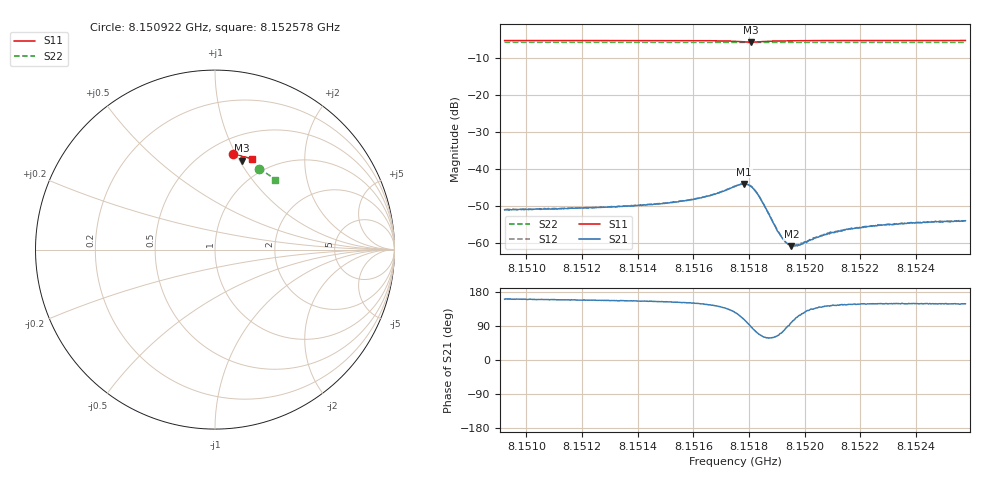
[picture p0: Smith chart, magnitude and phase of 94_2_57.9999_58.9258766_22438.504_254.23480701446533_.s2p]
#  HZ  S  RI  R  50.00
! Rohde & Schwarz Vector Network Analyzer
! Rohde-Schwarz,ZNB20-2Port,1311601062101988,3.16
! Created: UTC 3/21/2024, 12:54:25 AM
! freq[Hz]  re:S11  im:S11  re:S21  im:S21  re:S12  im:S12  re:S22  im:S22
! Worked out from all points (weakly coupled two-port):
!   401 points, 8.150922 GHz to 8.152578 GHz, reference 50 ohm
!   highest |S21| = -44.00 dB at 8.151783 GHz (marker M1); lowest = -60.8 dB at 8.151953 GHz (marker M2)
!   lowest |S11| = -5.7 dB at 8.151808 GHz (marker M3), VSWR 3.15, Z = 37.8 + j51.1 ohm
!   |S11| at or under -10 dB: nowhere
!   |S22| runs from -5.8 to -5.8 dB; largest |S21 - S12| = 0.00014
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8.1509218e9  0.0981 0.5337  -0.00266 0.000944  -0.00269 0.000968  0.2463 0.4514
8.1511991e9  0.1178 0.5301  -0.00277 0.00112  -0.00277 0.00114  0.2617 0.4424
8.1514765e9  0.1386 0.525  -0.00304 0.00148  -0.00308 0.00151  0.2768 0.4327
8.1515759e9  0.1468 0.5221  -0.00329 0.0018  -0.00331 0.00189  0.2821 0.429
8.1516338e9  0.1521 0.5194  -0.00355 0.00221  -0.00354 0.00226  0.2852 0.4269
8.1516835e9  0.1572 0.516  -0.00371 0.00285  -0.00367 0.00292  0.2879 0.4249
8.1517497e9  0.1621 0.5053  -0.00338 0.00477  -0.00335 0.00488  0.2913 0.4221
8.1517829e9  0.158 0.4972  -0.00182 0.00604  -0.00175 0.00612  0.2927 0.4206
8.1518077e9  0.1494 0.4958  0.000222 0.00581  0.000327 0.00589  0.2934 0.4197
8.1518243e9  0.1446 0.4992  0.00128 0.00481  0.00134 0.00485  0.2943 0.4194
8.1518408e9  0.1427 0.5041  0.00166 0.00366  0.00172 0.00364  0.2951 0.4191
8.1518946e9  0.1483 0.5144  0.000814 0.00148  0.000815 0.00148  0.2982 0.4173
8.1519112e9  0.1508 0.5157  0.000455 0.00123  0.000505 0.00123  0.2989 0.4168
8.1519319e9  0.1537 0.5166  0.000112 0.00103  0.000158 0.001  0.3002 0.4159
8.1519443e9  0.1553 0.5169  -1.82e-05 0.000973  -4.6e-05 0.000953  0.3009 0.4155
8.1519526e9  0.1562 0.517  -0.000144 0.000902  -0.000128 0.000903  0.3013 0.4152
8.1519733e9  0.1586 0.5173  -0.000376 0.000872  -0.000335 0.000854  0.3024 0.4144
8.1520271e9  0.1641 0.5168  -0.000777 0.000804  -0.000777 0.000813  0.3052 0.4121
8.1520768e9  0.1686 0.516  -0.00103 0.000798  -0.00102 0.000844  0.3077 0.4104
8.1521513e9  0.1747 0.5147  -0.00128 0.000873  -0.00128 0.000867  0.3116 0.4073
8.1523045e9  0.1862 0.5114  -0.00151 0.00092  -0.00153 0.000968  0.3192 0.4012
8.1525777e9  0.2051 0.5049  -0.00171 0.00106  -0.0017 0.00109  0.3326 0.3897
